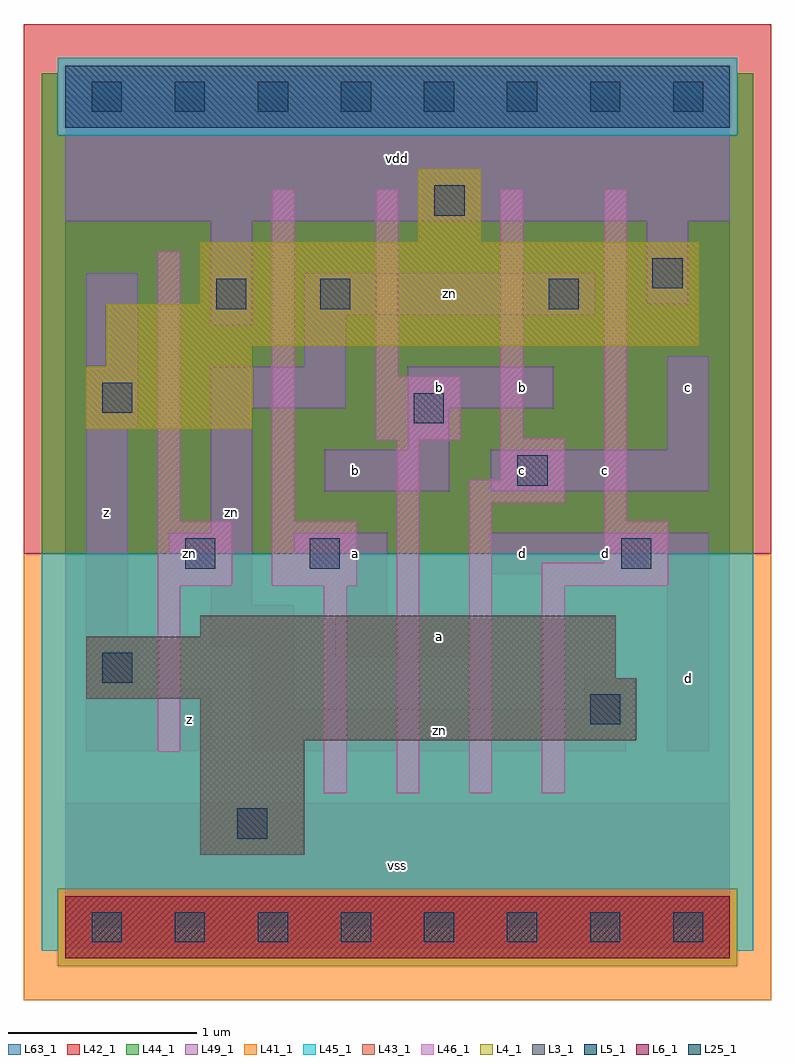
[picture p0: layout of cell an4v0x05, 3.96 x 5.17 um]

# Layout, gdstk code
import gdstk
lib = gdstk.Library(unit=1e-6, precision=1e-09)
def R(c, l, rs):  # rectangles x0, y0, x1, y1
    for r in rs: c.add(gdstk.rectangle(r[:2], r[2:], *l))
def A(c, l, x, y, w, h, nx, ny, dx, dy):  # array of equal rectangles
    R(c, l, [(x+i*dx, y+j*dy, x+i*dx+w, y+j*dy+h) for i in range(nx) for j in range(ny)])
L3_1 = (3, 1)
L4_1 = (4, 1)
L5_1 = (5, 1)
L6_1 = (6, 1)
L25_1 = (25, 1)
L41_1 = (41, 1)
L42_1 = (42, 1)
L43_1 = (43, 1)
L44_1 = (44, 1)
L45_1 = (45, 1)
L46_1 = (46, 1)
L49_1 = (49, 1)
L63_1 = (63, 1)

an4v0x05 = lib.new_cell('an4v0x05')
R(an4v0x05, L3_1, [(0.715,0.385,1.265,0.99), (0.715,0.99,3.025,1.21), (0.11,1.21,3.025,1.32), (0.11,1.32,2.915,1.54), (0.715,1.54,2.915,1.65)])
R(an4v0x05, L4_1, [(0.11,2.64,0.99,2.97), (0.22,2.97,0.99,3.08), (0.22,3.08,3.355,3.3), (0.715,3.3,3.355,3.63), (1.87,3.63,2.2,4.015)])
R(an4v0x05, L5_1, [(0,4.235,3.52,4.565)])
R(an4v0x05, L6_1, [(0,-0.165,3.52,0.165)])
A(an4v0x05, L25_1, 0.14, -0.08, 0.16, 0.16, 8, 2, 0.44, 4.4)
R(an4v0x05, L25_1, [(0.91,0.47,1.07,0.63), (2.78,1.075,2.94,1.235), (0.195,1.295,0.355,1.455), (0.635,1.9,0.795,2.06), (1.295,1.9,1.455,2.06), (2.945,1.9,3.105,2.06), (2.395,2.34,2.555,2.5), (1.845,2.67,2.005,2.83), (0.195,2.725,0.355,2.885), (0.8,3.275,0.96,3.435), (1.35,3.275,1.51,3.435), (2.56,3.275,2.72,3.435), (3.11,3.385,3.27,3.545), (1.955,3.77,2.115,3.93)])
R(an4v0x05, L41_1, [(-0.22,-0.385,3.74,1.98)])
R(an4v0x05, L42_1, [(-0.22,1.98,3.74,4.785)])
R(an4v0x05, L43_1, [(0,-0.165,3.52,0.165), (0.715,0.385,1.265,0.99), (0.715,0.99,3.025,1.21), (0.11,1.21,3.025,1.32), (0.11,1.32,2.915,1.54), (0.715,1.54,2.915,1.65), (0.11,2.64,0.99,2.97), (0.22,2.97,0.99,3.08), (0.22,3.08,3.355,3.3), (0.715,3.3,3.355,3.63), (1.87,3.63,2.2,4.015), (0,4.235,3.52,4.565)])
R(an4v0x05, L44_1, [(-0.04,-0.205,3.56,0.205), (-0.125,1.98,3.645,4.195), (-0.125,4.195,-0.04,4.525), (3.56,4.195,3.645,4.525)])
R(an4v0x05, L45_1, [(-0.125,-0.125,-0.04,0.205), (3.56,-0.125,3.645,0.205), (-0.125,0.205,3.645,1.98), (-0.04,4.195,3.56,4.605)])
R(an4v0x05, L46_1, [(1.37,0.71,1.49,1.81), (1.755,0.71,1.875,2.58), (2.14,0.71,2.26,2.25), (2.525,0.71,2.645,1.81), (0.49,0.93,0.61,1.81), (0.49,1.81,0.885,2.15), (1.095,1.81,1.545,2.15), (2.525,1.81,3.195,1.93), (2.855,1.93,3.195,2.15), (0.49,2.15,0.61,3.58), (1.095,2.15,1.215,3.91), (2.855,2.15,2.975,3.91), (2.14,2.25,2.645,2.37), (2.305,2.37,2.645,2.59), (1.645,2.58,2.095,2.92), (2.305,2.59,2.425,3.91), (1.645,2.92,1.765,3.91)])
R(an4v0x05, L49_1, [(0,-0.11,3.52,0.66), (0.11,0.935,0.77,1.265), (0.99,0.935,2.97,1.155), (3.19,0.935,3.41,1.87), (0.99,1.155,1.21,1.485), (2.75,1.155,2.97,1.32), (0.11,1.265,0.385,1.54), (1.43,1.43,2.145,1.65), (0.77,1.485,1.21,1.705), (0.11,1.54,0.33,2.64), (1.43,1.65,1.705,1.87), (0.77,1.705,0.99,1.87), (0.55,1.87,0.99,2.09), (1.21,1.87,1.705,2.09), (2.255,1.87,3.41,2.09), (0.77,2.09,0.99,2.75), (1.375,2.31,2.035,2.53), (2.255,2.31,3.41,2.53), (1.815,2.53,2.035,2.75), (3.19,2.53,3.41,3.025), (0.11,2.64,0.385,3.465), (0.77,2.75,1.485,2.97), (1.815,2.75,2.585,2.97), (1.265,2.97,1.485,3.245), (0.77,3.19,0.99,3.74), (1.265,3.245,2.805,3.465), (3.08,3.3,3.3,3.74), (0,3.74,3.52,4.51)])
R(an4v0x05, L63_1, [(0,0,3.52,4.4)])
an4v0x05.add(gdstk.Label('zn', (0.66,1.98), layer=49, texttype=1))
an4v0x05.add(gdstk.Label('z', (0.22,2.2), layer=49, texttype=1))
an4v0x05.add(gdstk.Label('z', (0.66,1.1), layer=49, texttype=1))
an4v0x05.add(gdstk.Label('zn', (0.88,2.2), layer=49, texttype=1))
an4v0x05.add(gdstk.Label('vss', (1.76,0.33), layer=49, texttype=1))
an4v0x05.add(gdstk.Label('a', (1.98,1.54), layer=49, texttype=1))
an4v0x05.add(gdstk.Label('a', (1.54,1.98), layer=49, texttype=1))
an4v0x05.add(gdstk.Label('b', (1.54,2.42), layer=49, texttype=1))
an4v0x05.add(gdstk.Label('b', (1.98,2.86), layer=49, texttype=1))
an4v0x05.add(gdstk.Label('vdd', (1.76,4.07), layer=49, texttype=1))
an4v0x05.add(gdstk.Label('c', (2.42,2.42), layer=49, texttype=1))
an4v0x05.add(gdstk.Label('d', (2.42,1.98), layer=49, texttype=1))
an4v0x05.add(gdstk.Label('b', (2.42,2.86), layer=49, texttype=1))
an4v0x05.add(gdstk.Label('zn', (2.035,3.355), layer=49, texttype=1))
an4v0x05.add(gdstk.Label('zn', (1.98,1.045), layer=49, texttype=1))
an4v0x05.add(gdstk.Label('d', (3.3,1.32), layer=49, texttype=1))
an4v0x05.add(gdstk.Label('d', (2.86,1.98), layer=49, texttype=1))
an4v0x05.add(gdstk.Label('c', (2.86,2.42), layer=49, texttype=1))
an4v0x05.add(gdstk.Label('c', (3.3,2.86), layer=49, texttype=1))

lib.write_gds('an4v0x05.gds')
